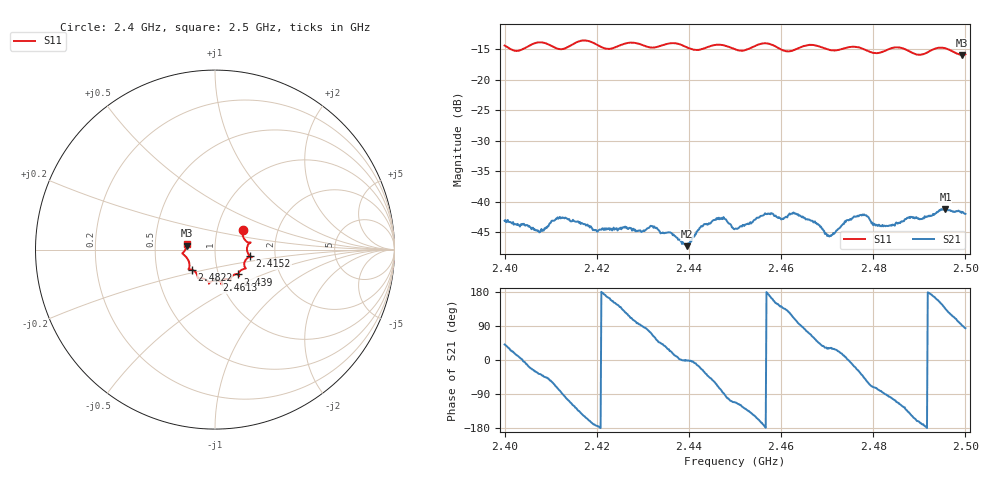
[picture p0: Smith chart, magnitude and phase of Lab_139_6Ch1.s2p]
# Hz S RI R 50
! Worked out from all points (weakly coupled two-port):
!   601 points, 2.4 GHz to 2.5 GHz, reference 50 ohm
!   highest |S21| = -41.15 dB at 2.4957 GHz (marker M1); lowest = -47.2 dB at 2.4395 GHz (marker M2)
!   lowest |S11| = -15.9 dB at 2.4993 GHz (marker M3), VSWR 1.38, Z = 36.3 + j1.61 ohm
!   |S11| at or under -10 dB: start of sweep to end of sweep
!   S12 and S22 are empty: the file has one direction only
!   S11 on the Smith chart (normalised r, x): 2.4 GHz: 1.33, +0.31; 2.4152 GHz: 1.48, -0.11; 2.439 GHz: 1.24, -0.36; 2.4613 GHz: 0.96, -0.34; 2.4822 GHz: 0.76, -0.17; 2.5 GHz: 0.73, +0.05
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2.4e9  0.1549 0.1113  0.0053 0.00459  0 0  0 0
2.402833e9  0.1597 0.065  0.00649 0.0013  0 0  0 0
2.407333e9  0.1983 0.0392  0.00471 -0.00343  0 0  0 0
2.4115e9  0.1791 0.0138  0.00196 -0.00721  0 0  0 0
2.415167e9  0.1952 -0.0366  -0.00372 -0.00588  0 0  0 0
2.416667e9  0.2047 -0.0426  -0.00527 -0.00419  0 0  0 0
2.422333e9  0.1671 -0.0641  -0.00587 0.00148  0 0  0 0
2.433333e9  0.132 -0.1323  0.00395 0.00442  0 0  0 0
2.439e9  0.1281 -0.1385  0.00452 -4.1e-05  0 0  0 0
2.4395e9  0.124 -0.1372  0.00434 -0.000111  0 0  0 0
2.446e9  0.0854 -0.1736  0.00319 -0.00663  0 0  0 0
2.45e9  0.0686 -0.1638  -0.00224 -0.0056  0 0  0 0
2.456833e9  0.0394 -0.1946  -0.00794 0.000108  0 0  0 0
2.461333e9  0.00763 -0.1706  -0.00486 0.00568  0 0  0 0
2.466667e9  -0.0335 -0.1901  0.00315 0.00626  0 0  0 0
2.4705e9  -0.0477 -0.169  0.00444 0.00273  0 0  0 0
2.4775e9  -0.0959 -0.1534  0.00599 -0.0049  0 0  0 0
2.482167e9  -0.1282 -0.1119  0.000361 -0.0063  0 0  0 0
2.483333e9  -0.1397 -0.1103  -0.000709 -0.00633  0 0  0 0
2.495667e9  -0.1797 -0.019  -0.00619 0.00619  0 0  0 0
2.499333e9  -0.1585 0.0216  -9.39e-05 0.0083  0 0  0 0
2.5e9  -0.1581 0.0337  0.000847 0.00795  0 0  0 0
